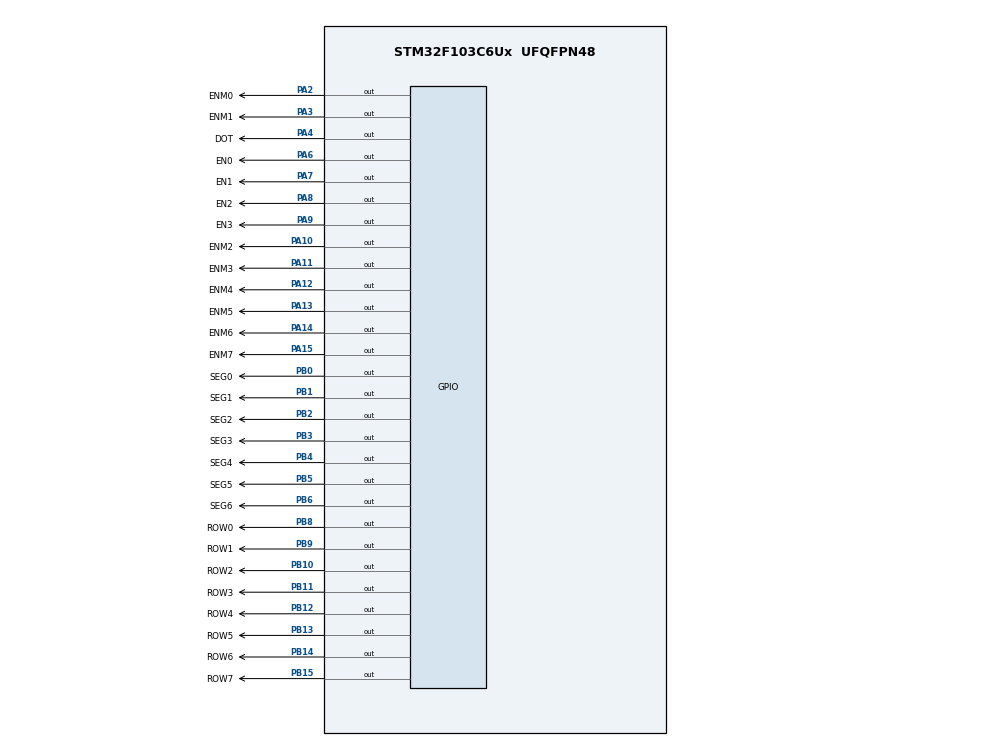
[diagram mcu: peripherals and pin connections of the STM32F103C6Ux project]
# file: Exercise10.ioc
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Mcu.Family=STM32F1
Mcu.Name=STM32F103C6Ux
Mcu.Package=UFQFPN48
NVIC.PriorityGroup=NVIC_PRIORITYGROUP_4
NVIC.TIM2_IRQn=true\:0\:0\:false\:false\:true\:true\:true
PA10.GPIO_Label=ENM2
PA10.Signal=GPIO_Output
PA11.GPIO_Label=ENM3
PA11.Signal=GPIO_Output
PA12.GPIO_Label=ENM4
PA12.Signal=GPIO_Output
PA13.GPIO_Label=ENM5
PA13.Signal=GPIO_Output
PA14.GPIO_Label=ENM6
PA14.Signal=GPIO_Output
PA15.GPIO_Label=ENM7
PA15.Signal=GPIO_Output
PA2.GPIO_Label=ENM0
PA2.Signal=GPIO_Output
PA3.GPIO_Label=ENM1
PA3.Signal=GPIO_Output
PA4.GPIO_Label=DOT
PA4.Signal=GPIO_Output
PA6.GPIO_Label=EN0
PA6.Signal=GPIO_Output
PA7.GPIO_Label=EN1
PA7.Signal=GPIO_Output
PA8.GPIO_Label=EN2
PA8.Signal=GPIO_Output
PA9.GPIO_Label=EN3
PA9.Signal=GPIO_Output
PB0.GPIO_Label=SEG0
PB0.Signal=GPIO_Output
PB1.GPIO_Label=SEG1
PB1.Signal=GPIO_Output
PB10.GPIO_Label=ROW2
PB10.Signal=GPIO_Output
PB11.GPIO_Label=ROW3
PB11.Signal=GPIO_Output
PB12.GPIO_Label=ROW4
PB12.Signal=GPIO_Output
PB13.GPIO_Label=ROW5
PB13.Signal=GPIO_Output
PB14.GPIO_Label=ROW6
PB14.Signal=GPIO_Output
PB15.GPIO_Label=ROW7
PB15.Signal=GPIO_Output
PB2.GPIO_Label=SEG2
PB2.Signal=GPIO_Output
PB3.GPIO_Label=SEG3
PB3.Signal=GPIO_Output
PB4.GPIO_Label=SEG4
PB4.Signal=GPIO_Output
PB5.GPIO_Label=SEG5
PB5.Signal=GPIO_Output
PB6.GPIO_Label=SEG6
PB6.Signal=GPIO_Output
PB8.GPIO_Label=ROW0
PB8.Signal=GPIO_Output
PB9.GPIO_Label=ROW1
PB9.Signal=GPIO_Output
ProjectManager.HeapSize=0x200
ProjectManager.StackSize=0x400
ProjectManager.TargetToolchain=STM32CubeIDE
RCC.APB1Freq_Value=8000000
RCC.APB2Freq_Value=8000000
TIM2.Period=9
TIM2.Prescaler=7999
VP_SYS_VS_ND.Mode=No_Debug
VP_TIM2_VS_ClockSourceINT.Mode=Internal
board=custom

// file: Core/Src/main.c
/* USER CODE BEGIN Header */
/**
  ******************************************************************************
  * @file           : main.c
  * @brief          : Main program body
  ******************************************************************************
  * @attention
  *
  * <h2><center>&copy; Copyright (c) 2023 STMicroelectronics.
  * All rights reserved.</center></h2>
  *
  * This software component is licensed by ST under BSD 3-Clause license,
  * the "License"; You may not use this file except in compliance with the
  * License. You may obtain a copy of the License at:
  *                        opensource.org/licenses/BSD-3-Clause
  *
  ******************************************************************************
  */
/* USER CODE END Header */
#include "main.h"

/* USER CODE BEGIN Includes */
#include "software_timer.h"
/* USER CODE END Includes */

TIM_HandleTypeDef htim2;

void SystemClock_Config(void);
static void MX_GPIO_Init(void);
static void MX_TIM2_Init(void);

int main(void)
{

  /* MCU Configuration--------------------------------------------------------*/

  /* Reset of all peripherals, Initializes the Flash interface and the Systick. */
  HAL_Init();

  /* Configure the system clock */
  SystemClock_Config();

  /* Initialize all configured peripherals */
  MX_GPIO_Init();
  MX_TIM2_Init();
  /* USER CODE BEGIN 2 */
    HAL_TIM_Base_Start_IT(&htim2);
    void display7SEG(int num) {
  	  char segNumber[10] = {0xC0, 0xF9, 0xA4, 0xB0, 0x99, 0x92, 0x82, 0xF8, 0x80, 0x90};
        for (int i = 0; i < 7; ++i) {
      	  HAL_GPIO_WritePin(GPIOB, GPIO_PIN_0 << i, (segNumber[num] >> i) & 1);
        }
    }
    int index_led = 0;
    int led_buffer [6] = {0,6,5,9};
    void update7SEG(int index){
  	  switch (index){
  	  	  case 0:
  	  		  display7SEG(led_buffer[0]);
  	  		  HAL_GPIO_WritePin(GPIOA, EN0_Pin, RESET);
  	  		  HAL_GPIO_WritePin(GPIOA, EN1_Pin, SET);
  	  		  HAL_GPIO_WritePin(GPIOA, EN2_Pin, SET);
  	  		  HAL_GPIO_WritePin(GPIOA, EN3_Pin, SET);
  	  		  break;
      	  case 1:
      		  display7SEG(led_buffer[1]);
      		  HAL_GPIO_WritePin(GPIOA, EN0_Pin, SET);
      		  HAL_GPIO_WritePin(GPIOA, EN1_Pin, RESET);
      		  HAL_GPIO_WritePin(GPIOA, EN2_Pin, SET);
      		  HAL_GPIO_WritePin(GPIOA, EN3_Pin, SET);
      		  break;
      	  case 2:
      		  display7SEG(led_buffer[2]);
      		  HAL_GPIO_WritePin(GPIOA, EN0_Pin, SET);
      		  HAL_GPIO_WritePin(GPIOA, EN1_Pin, SET);
      	  	  HAL_GPIO_WritePin(GPIOA, EN2_Pin, RESET);
      	  	  HAL_GPIO_WritePin(GPIOA, EN3_Pin, SET);
      	  	  break;
      	  case 3:
      		  display7SEG(led_buffer[3]);
      		  HAL_GPIO_WritePin(GPIOA, EN0_Pin, SET);
      		  HAL_GPIO_WritePin(GPIOA, EN1_Pin, SET);
      		  HAL_GPIO_WritePin(GPIOA, EN2_Pin, SET);
      		  HAL_GPIO_WritePin(GPIOA, EN3_Pin, RESET);
      		  break;
      	 default:
      		  break;
  	  }
    }
    int hour = 6, minute = 59, second = 50;
    void updateClockBuffer(){
  	  led_buffer[0] = hour / 10;
  	  led_buffer[1] = hour % 10;
  	  led_buffer[2] = minute / 10;
  	  led_buffer[3] = minute % 10;
    }
    void setCol(uint8_t val) {
  	  HAL_GPIO_WritePin(ENM0_GPIO_Port, ENM0_Pin, ((val>>7)&0x01));
  	  HAL_GPIO_WritePin(ENM1_GPIO_Port, ENM1_Pin, ((val>>6)&0x01));
  	  HAL_GPIO_WritePin(ENM2_GPIO_Port, ENM2_Pin, ((val>>5)&0x01));
  	  HAL_GPIO_WritePin(ENM3_GPIO_Port, ENM3_Pin, ((val>>4)&0x01));
  	  HAL_GPIO_WritePin(ENM4_GPIO_Port, ENM4_Pin, ((val>>3)&0x01));
  	  HAL_GPIO_WritePin(ENM5_GPIO_Port, ENM5_Pin, ((val>>2)&0x01));
  	  HAL_GPIO_WritePin(ENM6_GPIO_Port, ENM6_Pin, ((val>>1)&0x01));
  	  HAL_GPIO_WritePin(ENM7_GPIO_Port, ENM7_Pin, ((val>>0)&0x01));
    }
    void setMatrix(void){
  	  HAL_GPIO_WritePin(ROW0_GPIO_Port, ROW0_Pin, SET);
  	  HAL_GPIO_WritePin(ROW1_GPIO_Port, ROW1_Pin, SET);
  	  HAL_GPIO_WritePin(ROW2_GPIO_Port, ROW2_Pin, SET);
  	  HAL_GPIO_WritePin(ROW3_GPIO_Port, ROW3_Pin, SET);
  	  HAL_GPIO_WritePin(ROW4_GPIO_Port, ROW4_Pin, SET);
  	  HAL_GPIO_WritePin(ROW5_GPIO_Port, ROW5_Pin, SET);
  	  HAL_GPIO_WritePin(ROW6_GPIO_Port, ROW6_Pin, SET);
  	  HAL_GPIO_WritePin(ROW7_GPIO_Port, ROW7_Pin, SET);
    }
    int index_led_matrix = 0;
    int shift = 0;
    uint8_t matrix_buffer[8] = {0xf7,0xeb,0xdd,0xc1,0xdd,0xdd,0xdd,0xff};
    void updateLEDMatrix(uint8_t index, uint8_t shift){
  	  setMatrix();
  	  uint8_t matrix_buffer_shift = (matrix_buffer[index] << shift) | (matrix_buffer[index] >> (8-shift));
  	  switch(index){
  	  	  case 0:
  	  		  setCol(matrix_buffer_shift);
  	  		  HAL_GPIO_WritePin(GPIOB, ROW0_Pin, RESET);
  	  		  break;
  	  	  case 1:
  	  		  setCol(matrix_buffer_shift);
  	  		  HAL_GPIO_WritePin(GPIOB, ROW1_Pin, RESET);
  	  		  break;
  	  	  case 2:
  	  		  setCol(matrix_buffer_shift);
  	  		  HAL_GPIO_WritePin(GPIOB, ROW2_Pin, RESET);
  	  		  break;
  	  	  case 3:
  	  		  setCol(matrix_buffer_shift);
  	  		  HAL_GPIO_WritePin(GPIOB, ROW3_Pin, RESET);
  	  		  break;
  	  	  case 4:
  	  		  setCol(matrix_buffer_shift);
  	  		  HAL_GPIO_WritePin(GPIOB, ROW4_Pin, RESET);
  	  		  break;
  	  	  case 5:
  	  		  setCol(matrix_buffer_shift);
  	  		  HAL_GPIO_WritePin(GPIOB, ROW5_Pin, RESET);
  	  		  break;
  	  	  case 6:
  	  		  setCol(matrix_buffer_shift);
  	  		  HAL_GPIO_WritePin(GPIOB, ROW6_Pin, RESET);
  	  		  break;
  	  	  case 7:
  	  		  setCol(matrix_buffer_shift);
  	  		  HAL_GPIO_WritePin(GPIOB, ROW7_Pin, RESET);
  	  		  break;
  	  	  default:
  	  		  break;
  	  }
    }
  /* USER CODE END 2 */

  /* Infinite loop */
  /* USER CODE BEGIN WHILE */
  setTimer1(50);
  setTimer2(100);
  setTimer3(1);
  while (1)
  {
	  if (timer1_flag == 1){
	  		  setTimer1(25);
	  		  HAL_GPIO_TogglePin(GPIOA, DOT_Pin);
	  		  update7SEG(index_led++);
	  		  if(index_led >= 4) index_led = 0;
	  	  }
	  	  if (timer3_flag == 1){
	  		  setTimer3(1);
	  		  updateLEDMatrix(index_led_matrix++, shift);
	  		  if(index_led_matrix >= 8){
	  			  index_led_matrix = 0;
	  			  shift++;
	  			  if(shift >= 8) shift = 0;
	  		  }
	  	  }
	  	  if (timer2_flag == 1){
	  		  second++;
	  		  if (second >= 60){
	  			  second = 0;
	  			  minute++;
	  		  }
	  		  if (minute >= 60){
	  			  minute = 0;
	  			  hour++;
	  		  }
	  		  if (hour >= 24){
	  			  hour = 0;
	  		  }
	  		  updateClockBuffer();
	  		  setTimer2 (100);
	  	  }
    /* USER CODE END WHILE */

  }
}

void SystemClock_Config(void)
{
  RCC_OscInitTypeDef RCC_OscInitStruct = {0};
  RCC_ClkInitTypeDef RCC_ClkInitStruct = {0};

  /** Initializes the RCC Oscillators according to the specified parameters
  * in the RCC_OscInitTypeDef structure.
  */
  RCC_OscInitStruct.OscillatorType = RCC_OSCILLATORTYPE_HSI;
  RCC_OscInitStruct.HSIState = RCC_HSI_ON;
  RCC_OscInitStruct.HSICalibrationValue = RCC_HSICALIBRATION_DEFAULT;
  RCC_OscInitStruct.PLL.PLLState = RCC_PLL_NONE;
  if (HAL_RCC_OscConfig(&RCC_OscInitStruct) != HAL_OK)
  {
    Error_Handler();
  }
  /** Initializes the CPU, AHB and APB buses clocks
  */
  RCC_ClkInitStruct.ClockType = RCC_CLOCKTYPE_HCLK|RCC_CLOCKTYPE_SYSCLK
                              |RCC_CLOCKTYPE_PCLK1|RCC_CLOCKTYPE_PCLK2;
  RCC_ClkInitStruct.SYSCLKSource = RCC_SYSCLKSOURCE_HSI;
  RCC_ClkInitStruct.AHBCLKDivider = RCC_SYSCLK_DIV1;
  RCC_ClkInitStruct.APB1CLKDivider = RCC_HCLK_DIV1;
  RCC_ClkInitStruct.APB2CLKDivider = RCC_HCLK_DIV1;

  if (HAL_RCC_ClockConfig(&RCC_ClkInitStruct, FLASH_LATENCY_0) != HAL_OK)
  {
    Error_Handler();
  }
}

static void MX_TIM2_Init(void)
{

  TIM_ClockConfigTypeDef sClockSourceConfig = {0};
  TIM_MasterConfigTypeDef sMasterConfig = {0};

  htim2.Instance = TIM2;
  htim2.Init.Prescaler = 7999;
  htim2.Init.CounterMode = TIM_COUNTERMODE_UP;
  htim2.Init.Period = 9;
  htim2.Init.ClockDivision = TIM_CLOCKDIVISION_DIV1;
  htim2.Init.AutoReloadPreload = TIM_AUTORELOAD_PRELOAD_DISABLE;
  if (HAL_TIM_Base_Init(&htim2) != HAL_OK)
  {
    Error_Handler();
  }
  sClockSourceConfig.ClockSource = TIM_CLOCKSOURCE_INTERNAL;
  if (HAL_TIM_ConfigClockSource(&htim2, &sClockSourceConfig) != HAL_OK)
  {
    Error_Handler();
  }
  sMasterConfig.MasterOutputTrigger = TIM_TRGO_RESET;
  sMasterConfig.MasterSlaveMode = TIM_MASTERSLAVEMODE_DISABLE;
  if (HAL_TIMEx_MasterConfigSynchronization(&htim2, &sMasterConfig) != HAL_OK)
  {
    Error_Handler();
  }

}

static void MX_GPIO_Init(void)
{
  GPIO_InitTypeDef GPIO_InitStruct = {0};

  /* GPIO Ports Clock Enable */
  __HAL_RCC_GPIOA_CLK_ENABLE();
  __HAL_RCC_GPIOB_CLK_ENABLE();

  /*Configure GPIO pin Output Level */
  HAL_GPIO_WritePin(GPIOA, ENM0_Pin|ENM1_Pin|DOT_Pin|EN0_Pin
                          |EN1_Pin|EN2_Pin|EN3_Pin|ENM2_Pin
                          |ENM3_Pin|ENM4_Pin|ENM5_Pin|ENM6_Pin
                          |ENM7_Pin, GPIO_PIN_RESET);

  /*Configure GPIO pin Output Level */
  HAL_GPIO_WritePin(GPIOB, SEG0_Pin|SEG1_Pin|SEG2_Pin|ROW2_Pin
                          |ROW3_Pin|ROW4_Pin|ROW5_Pin|ROW6_Pin
                          |ROW7_Pin|SEG3_Pin|SEG4_Pin|SEG5_Pin
                          |SEG6_Pin|ROW0_Pin|ROW1_Pin, GPIO_PIN_RESET);

  /*Configure GPIO pins : ENM0_Pin ENM1_Pin DOT_Pin EN0_Pin
                           EN1_Pin EN2_Pin EN3_Pin ENM2_Pin
                           ENM3_Pin ENM4_Pin ENM5_Pin ENM6_Pin
                           ENM7_Pin */
  GPIO_InitStruct.Pin = ENM0_Pin|ENM1_Pin|DOT_Pin|EN0_Pin
                          |EN1_Pin|EN2_Pin|EN3_Pin|ENM2_Pin
                          |ENM3_Pin|ENM4_Pin|ENM5_Pin|ENM6_Pin
                          |ENM7_Pin;
  GPIO_InitStruct.Mode = GPIO_MODE_OUTPUT_PP;
  GPIO_InitStruct.Pull = GPIO_NOPULL;
  GPIO_InitStruct.Speed = GPIO_SPEED_FREQ_LOW;
  HAL_GPIO_Init(GPIOA, &GPIO_InitStruct);

  /*Configure GPIO pins : SEG0_Pin SEG1_Pin SEG2_Pin ROW2_Pin
                           ROW3_Pin ROW4_Pin ROW5_Pin ROW6_Pin
                           ROW7_Pin SEG3_Pin SEG4_Pin SEG5_Pin
                           SEG6_Pin ROW0_Pin ROW1_Pin */
  GPIO_InitStruct.Pin = SEG0_Pin|SEG1_Pin|SEG2_Pin|ROW2_Pin
                          |ROW3_Pin|ROW4_Pin|ROW5_Pin|ROW6_Pin
                          |ROW7_Pin|SEG3_Pin|SEG4_Pin|SEG5_Pin
                          |SEG6_Pin|ROW0_Pin|ROW1_Pin;
  GPIO_InitStruct.Mode = GPIO_MODE_OUTPUT_PP;
  GPIO_InitStruct.Pull = GPIO_NOPULL;
  GPIO_InitStruct.Speed = GPIO_SPEED_FREQ_LOW;
  HAL_GPIO_Init(GPIOB, &GPIO_InitStruct);

}

/* USER CODE BEGIN 4 */
  void HAL_TIM_PeriodElapsedCallback(TIM_HandleTypeDef *htim){
	  timerRun();
  }
/* USER CODE END 4 */

void Error_Handler(void)
{
  __disable_irq();
  while (1)
  {
  }
}

/************************ (C) COPYRIGHT STMicroelectronics *****END OF FILE****/
